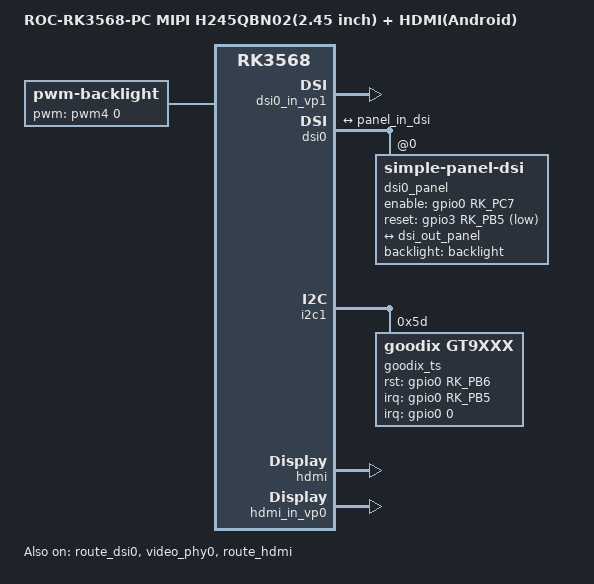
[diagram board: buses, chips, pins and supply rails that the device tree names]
// SPDX-License-Identifier: (GPL-2.0+ OR MIT)
/*
 * Copyright (c) 2020 Rockchip Electronics Co., Ltd.
 *
 */

 /dts-v1/;

#include "rk3568-firefly-roc-pc.dtsi"
/*
 *                               Select one of the three
 * using single camera xc7160 ----> rk3568-firefly-roc-pc-cam-8ms1m.dtsi
 * using dual camera gc2053/gc2093   ----> rk3568-firefly-roc-pc-cam-2ms2m.dtsi
 * using hdmi-in module rk628d   ----> rk3568-firefly-roc-pc-tf-hdmi-mipi-rk628.dtsi
 */
#include "rk3568-firefly-roc-pc-cam-8ms1m.dtsi"
//#include "rk3568-firefly-roc-pc-cam-2ms2m.dtsi"
//#include "rk3568-firefly-roc-pc-tf-hdmi-mipi-rk628.dtsi"

/ {
    model = "ROC-RK3568-PC MIPI H245QBN02(2.45 inch) + HDMI(Android)";
    compatible = "rockchip,rk3568-firefly-roc-pc-mipi", "rockchip,rk3568";

#define DSI0_OR_DSI1 0  /* dsi0 = 0, dsi1 = 1*/

#if DSI0_OR_DSI1
    backlight1: backlight1 {
        status = "okay";
        compatible = "pwm-backlight";
        //enable-gpios = <&gpio4 RK_PD2 GPIO_ACTIVE_HIGH>;
        pwms = <&pwm5 0 50000 0>;
        brightness-levels = <
             60  60  60  61  61  61  62  62
             62  63  63  63  64  64  64  65
             65  65  66  66  66  67  67  67
             68  68  68  69  69  69  70  70
             70  71  71  71  72  72  72  73
             73  73  74  74  74  75  75  75
             76  76  76  77  77  77  78  78
             78  79  79  79  80  80  80  81
             81  81  82  82  82  83  83  83
             84  84  84  85  85  85  86  86
             86  87  87  87  88  88  88  89
             89  89  90  91  92  93  94  95
             96  97  98  99 100 101 102 103
            104 105 106 107 108 109 110 111
            112 113 114 115 116 117 118 119
            120 121 122 123 124 125 126 127
            128 129 130 131 132 133 134 135
            136 137 138 139 140 141 142 143
            144 145 146 147 148 149 150 151
            152 153 154 155 156 157 158 159
            160 161 162 163 164 165 166 167
            168 169 170 171 172 173 174 175
            176 177 178 179 180 181 182 183
            184 185 186 187 188 189 190 191
            192 193 194 195 196 197 198 199
            200 201 202 203 204 205 206 207
            208 209 210 211 212 213 214 215
            216 217 218 219 220 221 222 223
            224 225 226 227 228 229 230 231
            232 233 234 235 236 237 238 239
            240 241 242 243 244 245 246 247
            248 249 250 251 252 253 254 255
        >;
        default-brightness-level = <200>;
	};
#else
    backlight: backlight {
        status = "okay";
        compatible = "pwm-backlight";
        //enable-gpios = <&gpio3 RK_PB0 GPIO_ACTIVE_HIGH>;
        pwms = <&pwm4 0 50000 0>;
        brightness-levels = <
             60  60  60  61  61  61  62  62
             62  63  63  63  64  64  64  65
             65  65  66  66  66  67  67  67
             68  68  68  69  69  69  70  70
             70  71  71  71  72  72  72  73
             73  73  74  74  74  75  75  75
             76  76  76  77  77  77  78  78
             78  79  79  79  80  80  80  81
             81  81  82  82  82  83  83  83
             84  84  84  85  85  85  86  86
             86  87  87  87  88  88  88  89
             89  89  90  91  92  93  94  95
             96  97  98  99 100 101 102 103
            104 105 106 107 108 109 110 111
            112 113 114 115 116 117 118 119
            120 121 122 123 124 125 126 127
            128 129 130 131 132 133 134 135
            136 137 138 139 140 141 142 143
            144 145 146 147 148 149 150 151
            152 153 154 155 156 157 158 159
            160 161 162 163 164 165 166 167
            168 169 170 171 172 173 174 175
            176 177 178 179 180 181 182 183
            184 185 186 187 188 189 190 191
            192 193 194 195 196 197 198 199
            200 201 202 203 204 205 206 207
            208 209 210 211 212 213 214 215
            216 217 218 219 220 221 222 223
            224 225 226 227 228 229 230 231
            232 233 234 235 236 237 238 239
            240 241 242 243 244 245 246 247
            248 249 250 251 252 253 254 255
        >;
        default-brightness-level = <200>;
    };
#endif
};

#if DSI0_OR_DSI1
&route_dsi1 {
    status = "okay";
    //logo,rotation = <270>; //support rotation 90,180,270
    connect = <&vp1_out_dsi1>;
};

&video_phy1 {
    status = "okay";
};

&dsi1_in_vp0 {
    status = "disabled";
};

&dsi1_in_vp1 {
    status = "okay";
};

/*
 * mipi_dphy1 needs to be enabled
 * when dsi1 is enabled
 */
&dsi1 {
    status = "okay";
    //rockchip,lane-rate = <1000>;
    dsi1_panel: panel@0 {
        status = "okay";
        compatible = "simple-panel-dsi";
        reg = <0>;
        backlight = <&backlight1>;

        enable-gpios = <&gpio0 RK_PC5 GPIO_ACTIVE_HIGH>;
	    reset-gpios = <&gpio3 RK_PB6 GPIO_ACTIVE_LOW>;

        enable-delay-ms = <35>;
        prepare-delay-ms = <6>;
        reset-delay-ms = <25>;
        init-delay-ms = <55>;
        unprepare-delay-ms = <0>;
        disable-delay-ms = <20>;
        mipi-data-delay-ms = <200>;
        size,width = <120>;
        size,height = <170>;
        dsi,flags = <(MIPI_DSI_MODE_LPM | MIPI_DSI_MODE_EOT_PACKET)>;
        dsi,format = <MIPI_DSI_FMT_RGB888>;
        dsi,lanes  = <1>;

        panel-init-sequence = [
            05 64 01 11
            39 00 05 2A 00 00 00 EF
            39 00 05 2B 00 00 01 AF
            15 00 02 35 00
            05 00 01 11
            05 C8 01 29
            39 00 03 BD 11 00
            39 00 03 BC 00 94
            39 00 03 BE 00 02
            05 00 01 2C
        ];

        panel-exit-sequence = [
            05 00 01 28
            05 00 01 10
        ];

        disp_timings1: display-timings {
            native-mode = <&dsi1_timing0>;
            dsi1_timing0: timing0 {
                clock-frequency = <9600000>;
                hactive = <240>;
                vactive = <432>;
                hsync-len = <2>;
                hback-porch = <52>;
                hfront-porch = <50>;
                vsync-len = <2>;
                vback-porch = <16>;
                vfront-porch = <14>;
                hsync-active = <0>;
                vsync-active = <0>;
                de-active = <0>;
                pixelclk-active = <0>;
            };
        };

        ports {
            #address-cells = <1>;
            #size-cells = <0>;

            port@0 {
                reg = <0>;
                panel_in_dsi1: endpoint {
                    remote-endpoint = <&dsi1_out_panel>;
                };
            };
        };
	};

    ports {
        #address-cells = <1>;
        #size-cells = <0>;

        port@1 {
            reg = <1>;
            dsi1_out_panel: endpoint {
            remote-endpoint = <&panel_in_dsi1>;
            };
        };
	};
};

&i2c5 {
	goodix_ts@5d {
		status = "okay";
		compatible = "goodix,gt9xxx";
		reg = <0x5d>;
		interrupt-parent = <&gpio2>;
		interrupts = <0 17 0x2008 0>;
		//goodix,pwr-gpio = <&pca9555 PCA_IO0_7 GPIO_ACTIVE_HIGH>;
		goodix,rst-gpio = <&gpio0 RK_PB7 GPIO_ACTIVE_HIGH>;
		goodix,irq-gpio = <&gpio2 RK_PD7 IRQ_TYPE_LEVEL_LOW>;
		flip-x = <1>;
		flip-y = <1>;
		
		goodix,cfg-group2 = [
			5B F0 00 B0 01 0A 05 00 01 08 
			28 07 50 32 03 05 00 00 00 00 
			00 00 00 00 00 00 00 89 20 05 
			38 30 31 0D 00 00 01 B9 03 2D 
			00 01 00 00 00 03 64 32 00 00 
			00 1D 41 94 C5 02 07 00 00 04 
			A7 1F 00 95 25 00 89 2B 00 7D 
			33 00 73 3C 00 73 00 00 00 00 
			00 00 00 00 00 00 00 00 00 00 
			00 00 00 00 00 00 00 00 00 00 
			00 00 00 00 00 00 00 00 00 00 
			00 00 02 04 06 08 0A FF FF FF 
			FF FF FF FF FF FF 00 00 00 00 
			00 00 00 00 00 00 00 00 00 00 
			00 00 10 0F 0C 0A 08 06 04 02 
			00 FF FF FF FF FF FF FF FF FF 
			FF FF FF FF FF FF FF FF 00 00 
			00 00 00 00 00 00 00 00 00 00 
			00 00 00 00 44 01
	    ];
	};
};
#else
&route_dsi0 {
    status = "okay";
    //logo,rotation = <270>; //support rotation 90,180,270
    connect = <&vp1_out_dsi0>;
};

&video_phy0 {
    status = "okay";
};

&dsi0_in_vp0 {
    status = "disabled";
};

&dsi0_in_vp1 {
    status = "okay";
};

/*
 * mipi_dphy0 needs to be enabled
 * when dsi0 is enabled
 */
&dsi0 {
    status = "okay";
    //rockchip,lane-rate = <1000>;
    dsi0_panel: panel@0 {
        status = "okay";
        compatible = "simple-panel-dsi";
        reg = <0>;
	    backlight = <&backlight>;

        enable-gpios = <&gpio0 RK_PC7 GPIO_ACTIVE_HIGH>;
        reset-gpios = <&gpio3 RK_PB5 GPIO_ACTIVE_LOW>;

        enable-delay-ms = <35>;
        prepare-delay-ms = <6>;
        reset-delay-ms = <25>;
        init-delay-ms = <55>;
        unprepare-delay-ms = <0>;
	    disable-delay-ms = <20>;
        mipi-data-delay-ms = <200>;
        size,width = <120>;
        size,height = <170>;
        dsi,flags = <(MIPI_DSI_MODE_LPM | MIPI_DSI_MODE_EOT_PACKET)>;
        dsi,format = <MIPI_DSI_FMT_RGB888>;
        dsi,lanes  = <1>;

        panel-init-sequence = [
            05 64 01 11
            39 00 05 2A 00 00 00 EF
            39 00 05 2B 00 00 01 AF
            15 00 02 35 00
            05 00 01 11
            05 C8 01 29
            39 00 03 BD 11 00
            39 00 03 BC 00 94
            39 00 03 BE 00 02
            05 00 01 2C
        ];

        panel-exit-sequence = [
            05 00 01 28
            05 00 01 10
        ];

        disp_timings0: display-timings {
            native-mode = <&dsi0_timing0>;
            dsi0_timing0: timing0 {
                clock-frequency = <9600000>;
                hactive = <240>;
                vactive = <432>;
                hsync-len = <2>;
                hback-porch = <52>;
                hfront-porch = <50>;
                vsync-len = <2>;
                vback-porch = <16>;
                vfront-porch = <14>;
                hsync-active = <0>;
                vsync-active = <0>;
                de-active = <0>;
                pixelclk-active = <0>;
            };
        };

        ports {
            #address-cells = <1>;
            #size-cells = <0>;

            port@0 {
                reg = <0>;
                panel_in_dsi: endpoint {
                    remote-endpoint = <&dsi_out_panel>;
                };
            };
        };
    };

    ports {
        #address-cells = <1>;
        #size-cells = <0>;

        port@1 {
            reg = <1>;
            dsi_out_panel: endpoint {
            remote-endpoint = <&panel_in_dsi>;
            };
        };
	};
};

&i2c1 {
    goodix_ts@5d {
		status = "okay";
		compatible = "goodix,gt9xxx";
		reg = <0x5d>;
		interrupt-parent = <&gpio0>;
		interrupts = <0 17 0x2008 0>;
		//goodix,pwr-gpio = <&pca9555 PCA_IO0_7 GPIO_ACTIVE_HIGH>;
		goodix,rst-gpio = <&gpio0 RK_PB6 GPIO_ACTIVE_HIGH>;
		goodix,irq-gpio = <&gpio0 RK_PB5 IRQ_TYPE_LEVEL_LOW>;
		flip-x = <1>;
		flip-y = <1>;
		
		goodix,cfg-group2 = [
            5B F0 00 B0 01 0A 05 00 01 08 
            28 07 50 32 03 05 00 00 00 00 
            00 00 00 00 00 00 00 89 20 05 
            38 30 31 0D 00 00 01 B9 03 2D 
            00 01 00 00 00 03 64 32 00 00 
            00 1D 41 94 C5 02 07 00 00 04 
            A7 1F 00 95 25 00 89 2B 00 7D 
            33 00 73 3C 00 73 00 00 00 00 
            00 00 00 00 00 00 00 00 00 00 
            00 00 00 00 00 00 00 00 00 00 
            00 00 00 00 00 00 00 00 00 00 
            00 00 02 04 06 08 0A FF FF FF 
            FF FF FF FF FF FF 00 00 00 00 
            00 00 00 00 00 00 00 00 00 00 
            00 00 10 0F 0C 0A 08 06 04 02 
            00 FF FF FF FF FF FF FF FF FF 
            FF FF FF FF FF FF FF FF 00 00 
            00 00 00 00 00 00 00 00 00 00 
            00 00 00 00 44 01
		];
	};
};
#endif

&route_hdmi {
    status = "okay";
    connect = <&vp0_out_hdmi>;
};

&hdmi {
    status = "okay";
};

&hdmi_in_vp0 {
    status = "okay";
};

&hdmi_in_vp1 {
    status = "disabled";
};

/delete-node/ &vcc3v3_lcd0_n;
/delete-node/ &vcc3v3_lcd1_n;
